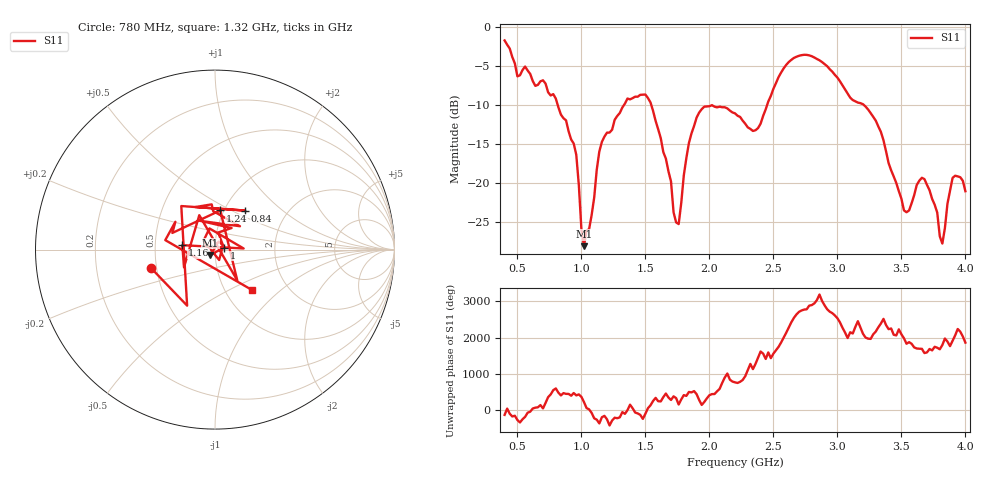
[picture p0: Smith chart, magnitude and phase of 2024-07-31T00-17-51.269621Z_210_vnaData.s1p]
!Created with skrf (http://scikit-rf.org).
# Hz S RI R 50.0
!freq ReS11 ImS11
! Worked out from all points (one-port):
!   181 points, 400 MHz to 4 GHz, reference 50 ohm
!   lowest |S11| = -28.1 dB at 1.02 GHz (marker M1), VSWR 1.08, Z = 47.4 - j2.85 ohm
!   |S11| at or under -10 dB: 815.3 MHz to 1.332 GHz (516.4 MHz wide, 48.1 % of centre); 1.546 GHz to 2.019 GHz (472.7 MHz wide, 26.5 % of centre); 3.208 GHz to end of sweep (the widest 3 of 4)
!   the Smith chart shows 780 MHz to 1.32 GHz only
!   S11 on the Smith chart (normalised r, x): 780 MHz: 0.46, -0.11; 840 MHz: 1.25, +0.59; 1 GHz: 1.10, +0.02; 1.16 GHz: 0.69, +0.04; 1.24 GHz: 0.96, +0.44; 1.32 GHz: 1.33, -0.66
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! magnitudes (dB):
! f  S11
! 400 MHz  -1.7
! 500 MHz  -6.3
! 780 MHz  -8.6
! 840 MHz  -11.2
! 860 MHz  -11.7
! 960 MHz  -16.4
! 1 GHz  -25.9
! 1.02 GHz  -28.1
! 1.16 GHz  -14.7
! 1.24 GHz  -13.1
! 1.3 GHz  -11.0
! 1.32 GHz  -10.3
! 1.54 GHz  -9.7
! 1.76 GHz  -25.3
! 1.84 GHz  -14.9
! 1.92 GHz  -10.9
! 2.2 GHz  -11.0
! 2.38 GHz  -12.9
! 2.66 GHz  -3.9
! 2.88 GHz  -4.5
! 3.1 GHz  -9.0
! 3.3 GHz  -12.0
! 3.52 GHz  -23.5
! 3.56 GHz  -23.5
! 3.68 GHz  -19.5
! 3.82 GHz  -27.8
! 3.9 GHz  -19.3
! 4 GHz  -21.0
